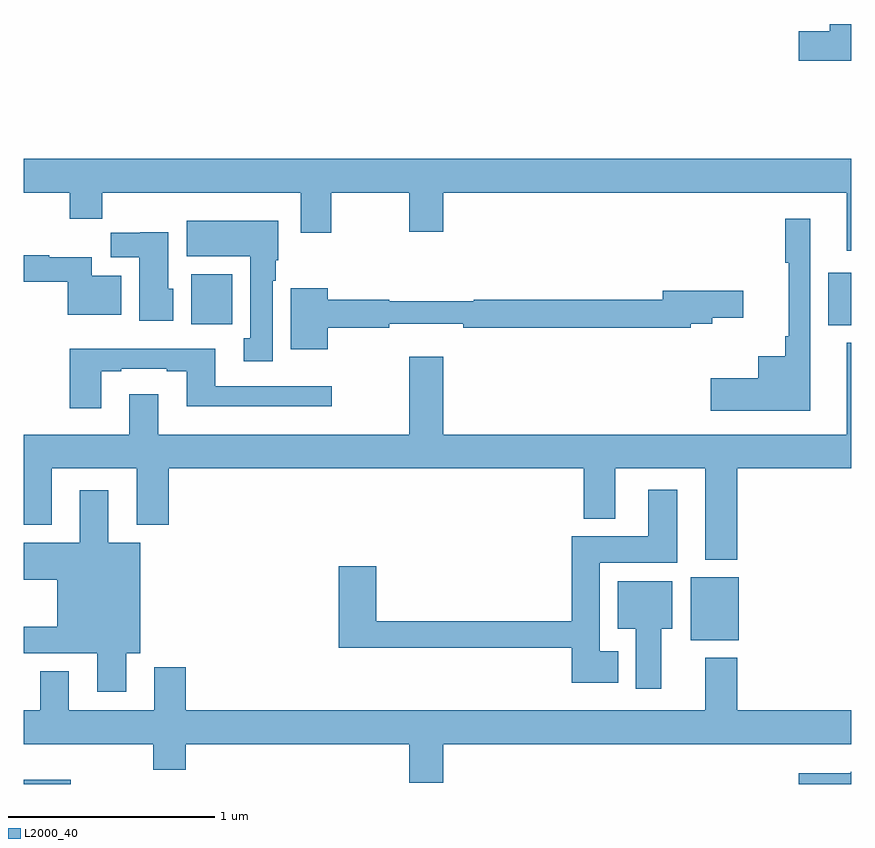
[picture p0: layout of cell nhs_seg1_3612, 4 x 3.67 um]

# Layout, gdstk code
import gdstk
lib = gdstk.Library(unit=1e-6, precision=1e-09)
def R(c, l, rs):  # rectangles x0, y0, x1, y1
    for r in rs: c.add(gdstk.rectangle(r[:2], r[2:], *l))
def P(c, l, *ps):  # polygons
    for p in ps: c.add(gdstk.Polygon(p, *l))
L2000_40 = (2000, 40)

nhs_seg1_3612 = lib.new_cell('nhs_seg1_3612')
R(nhs_seg1_3612, L2000_40, [(307,558.199,307.228,558.22), (310.223,558.893,310.456,559.198), (310.889,560.417,311,560.671), (307.811,560.42,308.008,560.662)])
P(nhs_seg1_3612, L2000_40, [(311,561.872),(310.895,561.872),(310.895,561.836),(310.746,561.836),(310.746,561.694),(311,561.694)],
  [(311,561.22),(307,561.22),(307,561.056),(307.223,561.056),(307.223,560.932),(307.379,560.932),(307.379,561.056),(308.339,561.056),(308.339,560.862),(308.487,560.862),(308.487,561.056),(308.864,561.056),(308.864,560.868),(309.028,560.868),(309.028,561.056),(310.979,561.056),(310.979,560.775),(311,560.775)],
  [(310.801,560.932),(310.68,560.932),(310.68,560.719),(310.697,560.719),(310.697,560.362),(310.68,560.362),(310.68,560.266),(310.55,560.266),(310.55,560.161),(310.32,560.161),(310.32,560.003),(310.801,560.003)],
  [(308.203,560.63),(308.218,560.63),(308.218,560.73),(308.23,560.73),(308.23,560.92),(307.787,560.92),(307.787,560.75),(308.096,560.75),(308.096,560.354),(308.063,560.354),(308.063,560.241),(308.203,560.241)],
  [(307.723,560.592),(307.699,560.592),(307.699,560.866),(307.563,560.866),(307.563,560.862),(307.42,560.862),(307.42,560.744),(307.559,560.744),(307.559,560.438),(307.723,560.438)],
  [(307.471,560.656),(307.33,560.656),(307.33,560.744),(307.124,560.744),(307.124,560.755),(307,560.755),(307,560.626),(307.213,560.626),(307.213,560.468),(307.471,560.468)],
  [(308.47,560.404),(308.768,560.404),(308.768,560.423),(309.124,560.423),(309.124,560.404),(310.223,560.404),(310.223,560.423),(310.327,560.423),(310.327,560.453),(310.477,560.453),(310.477,560.583),(310.088,560.583),(310.088,560.54),(309.175,560.54),(309.175,560.533),(308.766,560.533),(308.766,560.54),(308.47,560.54),(308.47,560.596),(308.291,560.596),(308.291,560.3),(308.47,560.3)],
  [(307,559.451),(307.135,559.451),(307.135,559.724),(307.547,559.724),(307.547,559.451),(307.7,559.451),(307.7,559.724),(309.707,559.724),(309.707,559.481),(309.859,559.481),(309.859,559.724),(310.295,559.724),(310.295,559.283),(310.448,559.283),(310.448,559.724),(311,559.724),(311,560.332),(310.979,560.332),(310.979,559.888),(309.028,559.888),(309.028,560.263),(308.864,560.263),(308.864,559.888),(307.651,559.888),(307.651,560.083),(307.511,560.083),(307.511,559.888),(307,559.888)],
  [(307.375,560.193),(307.471,560.193),(307.471,560.205),(307.691,560.205),(307.691,560.193),(307.787,560.193),(307.787,560.024),(308.488,560.024),(308.488,560.121),(307.927,560.121),(307.927,560.302),(307.223,560.302),(307.223,560.016),(307.375,560.016)],
  [(309.874,558.841),(309.784,558.841),(309.784,559.268),(310.159,559.268),(310.159,559.621),(310.019,559.621),(310.019,559.396),(309.65,559.396),(309.65,558.986),(308.705,558.986),(308.705,559.252),(308.522,559.252),(308.522,558.858),(309.65,558.858),(309.65,558.689),(309.874,558.689)],
  [(307.495,558.83),(307.564,558.83),(307.564,559.366),(307.408,559.366),(307.408,559.618),(307.271,559.618),(307.271,559.366),(307,559.366),(307,559.187),(307.163,559.187),(307.163,558.958),(307,558.958),(307,558.83),(307.355,558.83),(307.355,558.645),(307.495,558.645)],
  [(310.081,558.95),(310.135,558.95),(310.135,559.18),(309.872,559.18),(309.872,558.95),(309.959,558.95),(309.959,558.66),(310.081,558.66)],
  [(309.028,558.392),(311,558.392),(311,558.556),(310.448,558.556),(310.448,558.808),(310.295,558.808),(310.295,558.556),(307.784,558.556),(307.784,558.763),(307.631,558.763),(307.631,558.556),(307.219,558.556),(307.219,558.745),(307.079,558.745),(307.079,558.556),(307,558.556),(307,558.392),(307.627,558.392),(307.627,558.268),(307.784,558.268),(307.784,558.392),(308.864,558.392),(308.864,558.204),(309.028,558.204)],
  [(311,558.259),(310.998,558.259),(310.998,558.25),(310.746,558.25),(310.746,558.199),(311,558.199)])

lib.write_gds('nhs_seg1_3612.gds')
